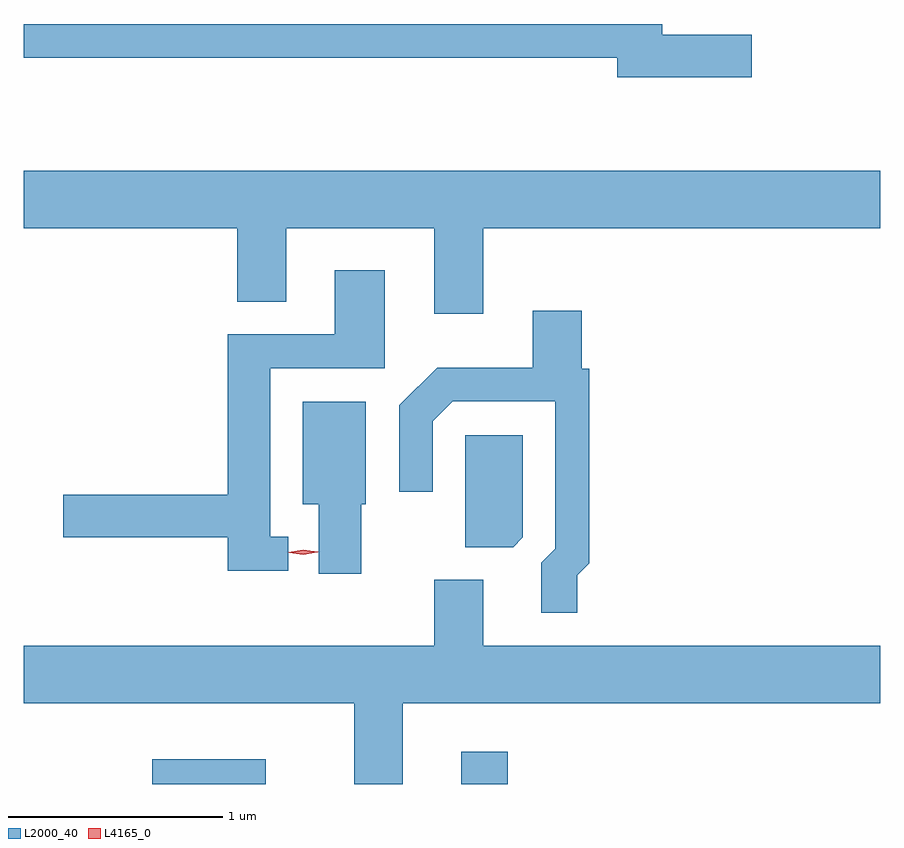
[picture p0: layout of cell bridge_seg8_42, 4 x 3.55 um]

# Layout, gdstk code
import gdstk
lib = gdstk.Library(unit=1e-6, precision=1e-09)
def R(c, l, rs):  # rectangles x0, y0, x1, y1
    for r in rs: c.add(gdstk.rectangle(r[:2], r[2:], *l))
def P(c, l, *ps):  # polygons
    for p in ps: c.add(gdstk.Polygon(p, *l))
L2000_40 = (2000, 40)
L4165_0 = (4165, 0)

bridge_seg8_42 = lib.new_cell('bridge_seg8_42')
R(bridge_seg8_42, L2000_40, [(1606.883,1902.639,1607.414,1902.754), (1608.326,1902.639,1608.544,1902.789)])
P(bridge_seg8_42, L2000_40, [(1609.684,1906.139),(1609.264,1906.139),(1609.264,1906.189),(1606.283,1906.189),(1606.283,1906.031),(1609.056,1906.031),(1609.056,1905.941),(1609.684,1905.941)],
  [(1608.429,1905.236),(1610.283,1905.236),(1610.283,1905.504),(1606.283,1905.504),(1606.283,1905.236),(1607.281,1905.236),(1607.281,1904.891),(1607.509,1904.891),(1607.509,1905.236),(1608.201,1905.236),(1608.201,1904.836),(1608.429,1904.836)],
  [(1607.518,1903.794),(1607.434,1903.794),(1607.434,1904.581),(1607.969,1904.581),(1607.969,1905.039),(1607.736,1905.039),(1607.736,1904.739),(1607.236,1904.739),(1607.236,1903.989),(1606.466,1903.989),(1606.466,1903.791),(1607.236,1903.791),(1607.236,1903.636),(1607.518,1903.636)],
  [(1608.869,1903.614),(1608.924,1903.669),(1608.924,1904.579),(1608.889,1904.579),(1608.889,1904.849),(1608.661,1904.849),(1608.661,1904.584),(1608.214,1904.584),(1608.036,1904.407),(1608.036,1904.003),(1608.194,1904.003),(1608.194,1904.334),(1608.287,1904.426),(1608.766,1904.426),(1608.766,1903.737),(1608.701,1903.672),(1608.701,1903.438),(1608.869,1903.438)],
  [(1607.859,1903.946),(1607.879,1903.946),(1607.879,1904.424),(1607.586,1904.424),(1607.586,1903.946),(1607.661,1903.946),(1607.661,1903.621),(1607.859,1903.621)],
  [(1608.614,1903.792),(1608.614,1904.269),(1608.346,1904.269),(1608.346,1903.746),(1608.569,1903.746)],
  [(1608.054,1903.016),(1610.283,1903.016),(1610.283,1903.284),(1608.429,1903.284),(1608.429,1903.594),(1608.201,1903.594),(1608.201,1903.284),(1606.283,1903.284),(1606.283,1903.016),(1607.826,1903.016),(1607.826,1902.639),(1608.054,1902.639)])
P(bridge_seg8_42, L4165_0, [(1607.589,1903.711),(1607.522,1903.719),(1607.522,1903.72),(1607.522,1903.72),(1607.588,1903.731),(1607.654,1903.722),(1607.655,1903.722),(1607.654,1903.722)],
  [(1607.588,1903.713),(1607.519,1903.722),(1607.519,1903.722),(1607.519,1903.722),(1607.588,1903.733),(1607.657,1903.725),(1607.658,1903.725),(1607.657,1903.724)])

lib.write_gds('bridge_seg8_42.gds')
